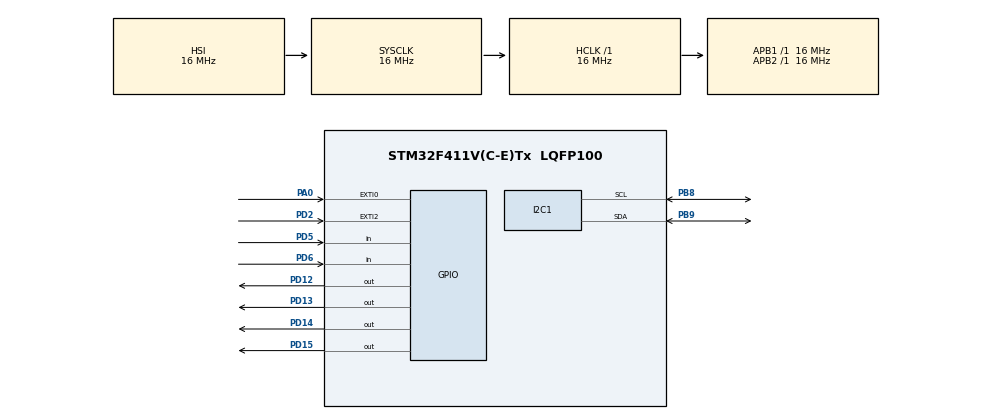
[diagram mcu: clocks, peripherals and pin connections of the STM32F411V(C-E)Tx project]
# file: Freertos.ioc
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Mcu.Family=STM32F4
Mcu.Name=STM32F411V(C-E)Tx
Mcu.Package=LQFP100
NVIC.EXTI0_IRQn=true\:5\:0\:false\:false\:true\:true\:true\:true
NVIC.EXTI2_IRQn=true\:5\:0\:false\:false\:true\:true\:true\:true
NVIC.PriorityGroup=NVIC_PRIORITYGROUP_4
NVIC.TIM4_IRQn=true\:15\:0\:false\:false\:true\:false\:true\:true
NVIC.TimeBase=TIM4_IRQn
NVIC.TimeBaseIP=TIM4
PA0-WKUP.GPIO_ModeDefaultEXTI=GPIO_MODE_IT_RISING_FALLING
PA0-WKUP.Signal=GPXTI0
PB8.Mode=I2C
PB8.Signal=I2C1_SCL
PB9.Mode=I2C
PB9.Signal=I2C1_SDA
PD12.Signal=GPIO_Output
PD13.Signal=GPIO_Output
PD14.Signal=GPIO_Output
PD15.Signal=GPIO_Output
PD2.GPIO_ModeDefaultEXTI=GPIO_MODE_IT_FALLING
PD2.GPIO_PuPd=GPIO_PULLUP
PD2.Signal=GPXTI2
PD5.GPIO_PuPd=GPIO_PULLUP
PD5.Signal=GPIO_Input
PD6.GPIO_PuPd=GPIO_PULLUP
PD6.Signal=GPIO_Input
ProjectManager.HeapSize=0x200
ProjectManager.StackSize=0x400
ProjectManager.TargetToolchain=STM32CubeIDE
RCC.AHBFreq_Value=16000000
RCC.APB1Freq_Value=16000000
RCC.APB2Freq_Value=16000000
RCC.CortexFreq_Value=16000000
RCC.HSE_VALUE=25000000
RCC.HSI_VALUE=16000000
RCC.LSE_VALUE=32768
RCC.SYSCLKFreq_VALUE=16000000
RCC.VCOOutputFreq_Value=192000000
VP_SYS_VS_tim4.Mode=TIM4
board=custom

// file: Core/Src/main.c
/* USER CODE BEGIN Header */
/**
 ******************************************************************************
 * @file           : main.c
 * @brief          : Main program body
 ******************************************************************************
 * @attention
 *
 * Copyright (c) 2026 STMicroelectronics.
 * All rights reserved.
 *
 * This software is licensed under terms that can be found in the LICENSE file
 * in the root directory of this software component.
 * If no LICENSE file comes with this software, it is provided AS-IS.
 *
 ******************************************************************************
 */
/* USER CODE END Header */
#include "main.h"

/* USER CODE BEGIN Includes */
#include "FreeRTOS.h"
#include "bsp_sensor.h"
#include "freertos_objects.h"
#include "oled_task.h"
#include "sensor_task.h"
#include "task.h"
#include "ui_task.h"
#include "washing_manager.h"

/* USER CODE END Includes */

/* USER CODE BEGIN PM */
#define DWT_CYCCNT (*(volatile uint32_t *)0xE0001004)
#define DWT_CONTROL (*(volatile uint32_t *)0xE0001000)
#define SCB_DEMCR (*(volatile uint32_t *)0xE000EDFC)
/* USER CODE END PM */

I2C_HandleTypeDef hi2c1;

void SystemClock_Config(void);
static void MX_GPIO_Init(void);
static void MX_I2C1_Init(void);

int main(void)
{

  /* MCU Configuration--------------------------------------------------------*/

  /* Reset of all peripherals, Initializes the Flash interface and the Systick. */
  HAL_Init();

  /* USER CODE BEGIN Init */
  // HAL_NVIC_SetPriorityGrouping(NVIC_PRIORITYGROUP_4);
  /* USER CODE END Init */

  /* Configure the system clock */
  SystemClock_Config();

  /* USER CODE BEGIN SysInit */
  SCB_DEMCR |= 0x01000000; // Enable khối TRCENA
  DWT_CYCCNT = 0;          // Reset bộ đếm chu kỳ
  DWT_CONTROL |= 1;        // Bật bộ đếm chu kỳ (CYCCNTENA)

  SEGGER_SYSVIEW_Conf();
  SEGGER_SYSVIEW_Start();
  /* USER CODE END SysInit */

  /* Initialize all configured peripherals */
  MX_GPIO_Init();
  MX_I2C1_Init();
  /* USER CODE BEGIN 2 */

  /* All GPIO and NVIC config for buttons and sensors is generated by CubeMX.
   * See .ioc: PA0 (EXTI0, priority 5), PD2 (EXTI2, priority 5), PD5, PD6. */
  BSP_Sensor_Init(); /* Software state init for sensor simulation flags. */

  App_FreeRTOSObjectsInit();

  xTaskCreate(WashingManager_Task, "WashMgr", 256, NULL,
              TASK_PRIORITY_WASH_MANAGER, NULL);
  xTaskCreate(UITask, "UITask", 128, NULL, TASK_PRIORITY_UI, NULL);
  xTaskCreate(SensorTask, "Sensor", 128, NULL, TASK_PRIORITY_SENSOR, NULL);
  xTaskCreate(OLEDTask, "OLED", 256, NULL, TASK_PRIORITY_OLED, NULL);

  vTaskStartScheduler();
  /* USER CODE END 2 */

  /* Infinite loop */
  while (1) {

  }
}

void SystemClock_Config(void)
{
  RCC_OscInitTypeDef RCC_OscInitStruct = {0};
  RCC_ClkInitTypeDef RCC_ClkInitStruct = {0};

  /** Configure the main internal regulator output voltage
  */
  __HAL_RCC_PWR_CLK_ENABLE();
  __HAL_PWR_VOLTAGESCALING_CONFIG(PWR_REGULATOR_VOLTAGE_SCALE1);

  /** Initializes the RCC Oscillators according to the specified parameters
  * in the RCC_OscInitTypeDef structure.
  */
  RCC_OscInitStruct.OscillatorType = RCC_OSCILLATORTYPE_HSI;
  RCC_OscInitStruct.HSIState = RCC_HSI_ON;
  RCC_OscInitStruct.HSICalibrationValue = RCC_HSICALIBRATION_DEFAULT;
  RCC_OscInitStruct.PLL.PLLState = RCC_PLL_NONE;
  if (HAL_RCC_OscConfig(&RCC_OscInitStruct) != HAL_OK)
  {
    Error_Handler();
  }

  /** Initializes the CPU, AHB and APB buses clocks
  */
  RCC_ClkInitStruct.ClockType = RCC_CLOCKTYPE_HCLK|RCC_CLOCKTYPE_SYSCLK
                              |RCC_CLOCKTYPE_PCLK1|RCC_CLOCKTYPE_PCLK2;
  RCC_ClkInitStruct.SYSCLKSource = RCC_SYSCLKSOURCE_HSI;
  RCC_ClkInitStruct.AHBCLKDivider = RCC_SYSCLK_DIV1;
  RCC_ClkInitStruct.APB1CLKDivider = RCC_HCLK_DIV1;
  RCC_ClkInitStruct.APB2CLKDivider = RCC_HCLK_DIV1;

  if (HAL_RCC_ClockConfig(&RCC_ClkInitStruct, FLASH_LATENCY_0) != HAL_OK)
  {
    Error_Handler();
  }
}

static void MX_I2C1_Init(void)
{

  hi2c1.Instance = I2C1;
  hi2c1.Init.ClockSpeed = 100000;
  hi2c1.Init.DutyCycle = I2C_DUTYCYCLE_2;
  hi2c1.Init.OwnAddress1 = 0;
  hi2c1.Init.AddressingMode = I2C_ADDRESSINGMODE_7BIT;
  hi2c1.Init.DualAddressMode = I2C_DUALADDRESS_DISABLE;
  hi2c1.Init.OwnAddress2 = 0;
  hi2c1.Init.GeneralCallMode = I2C_GENERALCALL_DISABLE;
  hi2c1.Init.NoStretchMode = I2C_NOSTRETCH_DISABLE;
  if (HAL_I2C_Init(&hi2c1) != HAL_OK)
  {
    Error_Handler();
  }

}

static void MX_GPIO_Init(void)
{
  GPIO_InitTypeDef GPIO_InitStruct = {0};

  /* GPIO Ports Clock Enable */
  __HAL_RCC_GPIOA_CLK_ENABLE();
  __HAL_RCC_GPIOD_CLK_ENABLE();
  __HAL_RCC_GPIOB_CLK_ENABLE();

  /*Configure GPIO pin Output Level */
  HAL_GPIO_WritePin(GPIOD, GPIO_PIN_12|GPIO_PIN_13|GPIO_PIN_14|GPIO_PIN_15, GPIO_PIN_RESET);

  /*Configure GPIO pin : PA0 */
  GPIO_InitStruct.Pin = GPIO_PIN_0;
  GPIO_InitStruct.Mode = GPIO_MODE_IT_RISING_FALLING;
  GPIO_InitStruct.Pull = GPIO_NOPULL;
  HAL_GPIO_Init(GPIOA, &GPIO_InitStruct);

  /*Configure GPIO pins : PD12 PD13 PD14 PD15 */
  GPIO_InitStruct.Pin = GPIO_PIN_12|GPIO_PIN_13|GPIO_PIN_14|GPIO_PIN_15;
  GPIO_InitStruct.Mode = GPIO_MODE_OUTPUT_PP;
  GPIO_InitStruct.Pull = GPIO_NOPULL;
  GPIO_InitStruct.Speed = GPIO_SPEED_FREQ_LOW;
  HAL_GPIO_Init(GPIOD, &GPIO_InitStruct);

  /*Configure GPIO pin : PD2 (Start/Confirm — see HARDWARE_BUGS.md Bug #14/#16
   * for why this moved off PE1, then off PD4) */
  GPIO_InitStruct.Pin = GPIO_PIN_2;
  GPIO_InitStruct.Mode = GPIO_MODE_IT_FALLING;
  GPIO_InitStruct.Pull = GPIO_PULLUP;
  HAL_GPIO_Init(GPIOD, &GPIO_InitStruct);

  /*Configure GPIO pins : PD5 PD6 */
  GPIO_InitStruct.Pin = GPIO_PIN_5|GPIO_PIN_6;
  GPIO_InitStruct.Mode = GPIO_MODE_INPUT;
  GPIO_InitStruct.Pull = GPIO_PULLUP;
  HAL_GPIO_Init(GPIOD, &GPIO_InitStruct);

  /* EXTI interrupt init*/
  HAL_NVIC_SetPriority(EXTI0_IRQn, 5, 0);
  HAL_NVIC_EnableIRQ(EXTI0_IRQn);

  HAL_NVIC_SetPriority(EXTI2_IRQn, 5, 0);
  HAL_NVIC_EnableIRQ(EXTI2_IRQn);

}

void HAL_TIM_PeriodElapsedCallback(TIM_HandleTypeDef *htim)
{
  if (htim->Instance == TIM4)
  {
    HAL_IncTick();
  }
}

void Error_Handler(void)
{
  __disable_irq();
  while (1) {
  }
}
#ifdef USE_FULL_ASSERT
/**
  * @brief  Reports the name of the source file and the source line number
  *         where the assert_param error has occurred.
  * @param  file: pointer to the source file name
  * @param  line: assert_param error line source number
  * @retval None
  */
void assert_failed(uint8_t *file, uint32_t line)
{
  /* USER CODE BEGIN 6 */
  /* User can add his own implementation to report the file name and line
     number, ex: printf("Wrong parameters value: file %s on line %d\r\n", file,
     line) */
  /* USER CODE END 6 */
}
#endif /* USE_FULL_ASSERT */
